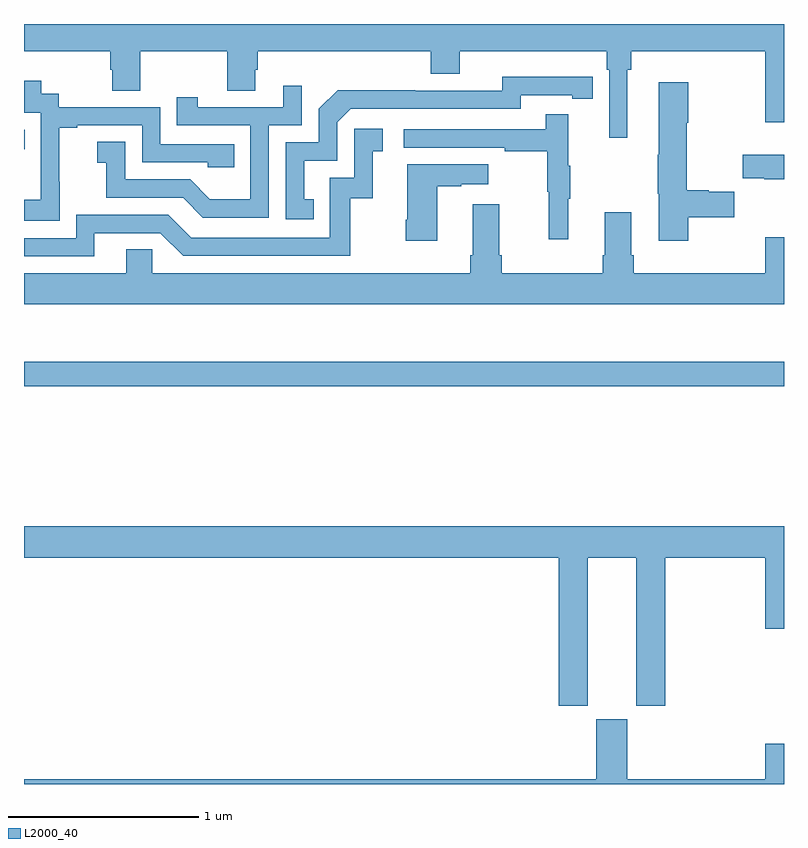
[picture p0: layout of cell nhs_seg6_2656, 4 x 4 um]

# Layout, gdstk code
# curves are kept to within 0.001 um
import gdstk
lib = gdstk.Library(unit=1e-6, precision=1e-09)
def R(c, l, rs):  # rectangles x0, y0, x1, y1
    for r in rs: c.add(gdstk.rectangle(r[:2], r[2:], *l))
def P(c, l, *ps):  # polygons
    for p in ps: c.add(gdstk.Polygon(p, *l))
L2000_40 = (2000, 40)

nhs_seg6_2656 = lib.new_cell('nhs_seg6_2656')
R(nhs_seg6_2656, L2000_40, [(269,925.594,273,925.723), (269,926.842,269.003,926.943)])
P(nhs_seg6_2656, L2000_40, [(269,927.356),(269.453,927.356),(269.453,927.258),(269.465,927.258),(269.465,927.148),(269.613,927.148),(269.613,927.356),(270.07,927.356),(270.07,927.148),(270.217,927.148),(270.217,927.258),(270.23,927.258),(270.23,927.356),(271.142,927.356),(271.142,927.239),(271.294,927.239),(271.294,927.356),(272.066,927.356),(272.066,927.26),(272.079,927.26),(272.079,926.901),(272.176,926.901),(272.176,927.26),(272.195,927.26),(272.195,927.356),(272.9,927.356),(272.9,926.982),(273,926.982),(273,927.5),(269,927.5)],
  [(270.524,926.577),(270.475,926.577),(270.475,926.781),(270.648,926.781),(270.648,926.982),(270.72,927.054),(271.614,927.054),(271.614,927.126),(271.886,927.126),(271.886,927.106),(271.994,927.106),(271.994,927.222),(271.518,927.223),(271.518,927.15),(271.058,927.15),(271.058,927.152),(270.65,927.152),(270.552,927.054),(270.552,926.877),(270.378,926.877),(270.378,926.472),(270.524,926.472)],
  [(269.187,926.671),(269.186,926.671),(269.186,926.955),(269.281,926.955),(269.281,926.967),(269.622,926.967),(269.622,926.772),(269.967,926.772),(269.967,926.745),(270.107,926.745),(270.107,926.868),(269.718,926.868),(269.718,927.063),(269.184,927.063),(269.184,927.132),(269.092,927.132),(269.092,927.202),(269,927.202),(269,927.033),(269.088,927.033),(269.088,926.804),(269.087,926.804),(269.087,926.575),(269,926.575),(269,926.465),(269.187,926.465)],
  [(272.496,926.482),(272.737,926.482),(272.737,926.617),(272.604,926.617),(272.604,926.624),(272.488,926.624),(272.488,926.98),(272.496,926.98),(272.496,927.193),(272.342,927.193),(272.342,926.813),(272.335,926.813),(272.335,926.607),(272.342,926.607),(272.342,926.358),(272.496,926.358)],
  [(270.288,926.967),(270.462,926.967),(270.462,927.175),(270.365,927.175),(270.365,927.063),(269.914,927.063),(269.914,927.115),(269.803,927.115),(269.803,926.967),(270.192,926.967),(270.192,926.578),(269.978,926.578),(269.874,926.682),(269.532,926.682),(269.532,926.881),(269.385,926.881),(269.385,926.771),(269.434,926.771),(269.434,926.586),(269.837,926.586),(269.942,926.481),(270.288,926.481)],
  [(271.865,926.579),(271.876,926.579),(271.876,926.753),(271.865,926.753),(271.865,927.025),(271.747,927.025),(271.747,926.946),(270.999,926.946),(270.999,926.85),(271.531,926.85),(271.531,926.83),(271.755,926.83),(271.755,926.616),(271.762,926.616),(271.762,926.367),(271.865,926.367)],
  [(269.371,926.4),(269.718,926.4),(269.838,926.28),(270.718,926.28),(270.718,926.583),(270.836,926.583),(270.836,926.829),(270.889,926.829),(270.889,926.95),(270.738,926.95),(270.738,926.691),(270.609,926.691),(270.609,926.376),(269.88,926.376),(269.76,926.496),(269.274,926.496),(269.274,926.373),(269,926.373),(269,926.277),(269.371,926.277)],
  [(273,926.812),(272.784,926.812),(272.784,926.687),(272.896,926.687),(272.896,926.683),(273,926.683)],
  [(271.174,926.647),(271.301,926.647),(271.301,926.657),(271.444,926.657),(271.444,926.761),(271.016,926.761),(271.016,926.47),(271.009,926.47),(271.009,926.358),(271.174,926.358)],
  [(273,926.377),(272.9,926.377),(272.9,926.188),(272.21,926.188),(272.21,926.284),(272.197,926.284),(272.197,926.509),(272.057,926.509),(272.057,926.284),(272.045,926.284),(272.045,926.188),(271.514,926.188),(271.514,926.284),(271.501,926.284),(271.501,926.551),(271.361,926.551),(271.361,926.284),(271.349,926.284),(271.349,926.188),(269.676,926.188),(269.676,926.315),(269.537,926.315),(269.537,926.188),(269,926.188),(269,926.024),(273,926.024)],
  [(271.966,924.692),(272.222,924.692),(272.222,923.913),(272.375,923.913),(272.375,924.692),(272.9,924.692),(272.9,924.318),(273,924.318),(273,924.856),(269,924.856),(269,924.692),(271.814,924.692),(271.814,923.913),(271.966,923.913)],
  [(273,923.713),(272.9,923.713),(272.9,923.524),(272.176,923.524),(272.176,923.841),(272.012,923.841),(272.012,923.524),(269,923.524),(269,923.5),(273,923.5)])

lib.write_gds('nhs_seg6_2656.gds')
